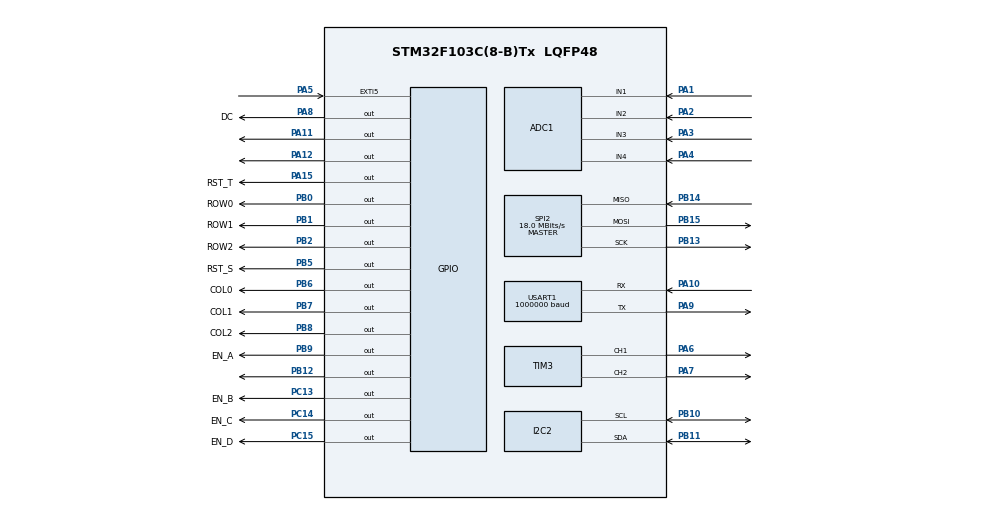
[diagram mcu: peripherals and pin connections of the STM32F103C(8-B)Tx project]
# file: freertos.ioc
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ADC1.Channel-0\#ChannelRegularConversion=ADC_CHANNEL_1
ADC1.Channel-1\#ChannelRegularConversion=ADC_CHANNEL_2
ADC1.Channel-2\#ChannelRegularConversion=ADC_CHANNEL_3
ADC1.Channel-3\#ChannelRegularConversion=ADC_CHANNEL_4
ADC1.ContinuousConvMode=ENABLE
ADC1.NbrOfConversion=4
ADC1.NbrOfConversionFlag=1
ADC1.Rank-0\#ChannelRegularConversion=1
ADC1.Rank-1\#ChannelRegularConversion=2
ADC1.Rank-2\#ChannelRegularConversion=3
ADC1.Rank-3\#ChannelRegularConversion=4
ADC1.SamplingTime-0\#ChannelRegularConversion=ADC_SAMPLETIME_13CYCLES_5
ADC1.SamplingTime-1\#ChannelRegularConversion=ADC_SAMPLETIME_13CYCLES_5
ADC1.SamplingTime-2\#ChannelRegularConversion=ADC_SAMPLETIME_13CYCLES_5
ADC1.SamplingTime-3\#ChannelRegularConversion=ADC_SAMPLETIME_13CYCLES_5
ADC1.master=1
Dma.ADC1.0.Direction=DMA_PERIPH_TO_MEMORY
Dma.ADC1.0.Instance=DMA1_Channel1
Dma.ADC1.0.MemDataAlignment=DMA_MDATAALIGN_HALFWORD
Dma.ADC1.0.MemInc=DMA_MINC_ENABLE
Dma.ADC1.0.Mode=DMA_CIRCULAR
Dma.ADC1.0.PeriphDataAlignment=DMA_PDATAALIGN_HALFWORD
Dma.ADC1.0.PeriphInc=DMA_PINC_DISABLE
Dma.ADC1.0.Priority=DMA_PRIORITY_MEDIUM
Dma.Request0=ADC1
Dma.Request1=SPI2_TX
Dma.SPI2_TX.1.Direction=DMA_MEMORY_TO_PERIPH
Dma.SPI2_TX.1.Instance=DMA1_Channel5
Dma.SPI2_TX.1.MemDataAlignment=DMA_MDATAALIGN_BYTE
Dma.SPI2_TX.1.MemInc=DMA_MINC_ENABLE
Dma.SPI2_TX.1.Mode=DMA_NORMAL
Dma.SPI2_TX.1.PeriphDataAlignment=DMA_PDATAALIGN_BYTE
Dma.SPI2_TX.1.PeriphInc=DMA_PINC_DISABLE
Dma.SPI2_TX.1.Priority=DMA_PRIORITY_HIGH
FREERTOS.BinarySemaphores01=spi2DmaSemaphore,Static,spi2DmaSemaphoreControlBlock,Available;lcdBusySemaphore,Static,lcdBusySemaphoreControlBlock,Available;ctpBusySemaphore,Static,ctpBusySemaphoreControlBlock,Available;TouchInitSemaphore,Static,TouchInitSemaphoreControlBlock,Depleted
FREERTOS.INCLUDE_xTaskGetCurrentTaskHandle=1
FREERTOS.Tasks01=screenRefresh,2,512,screenRefreshTask,Default,NULL,Static,screenRefreshTaskBuffer,screenRefreshTaskControlBlock;init,3,128,initTask,Default,NULL,Dynamic,NULL,NULL;TouchProcess,3,128,TouchProcessTask,Default,NULL,Static,TouchProcessBuffer,TouchProcessControlBlock
FREERTOS.Timers01=feedWDGTimer,feedWDGCallback,osTimerPeriodic,Default,NULL,Static,feedWDGTimerControlBlock
FREERTOS.configENABLE_BACKWARD_COMPATIBILITY=0
FREERTOS.configTIMER_TASK_PRIORITY=6
FREERTOS.configTIMER_TASK_STACK_DEPTH=128
FREERTOS.configTOTAL_HEAP_SIZE=3072
FREERTOS.configUSE_NEWLIB_REENTRANT=1
FREERTOS.configUSE_TIMERS=1
I2C2.I2C_Mode=I2C_Standard
Mcu.Family=STM32F1
Mcu.Name=STM32F103C(8-B)Tx
Mcu.Package=LQFP48
NVIC.DMA1_Channel5_IRQn=true\:5\:0\:false\:false\:true\:true\:true\:true\:true
NVIC.EXTI9_5_IRQn=true\:5\:0\:false\:false\:true\:true\:true\:true\:true
NVIC.PriorityGroup=NVIC_PRIORITYGROUP_4
NVIC.TIM1_UP_IRQn=true\:15\:0\:false\:false\:true\:false\:false\:true\:true
NVIC.TIM4_IRQn=true\:5\:0\:false\:false\:true\:true\:true\:true\:true
NVIC.TimeBase=TIM1_UP_IRQn
NVIC.TimeBaseIP=TIM1
PA0-WKUP.Mode=SYS_WakeUp0
PA0-WKUP.Signal=SYS_WKUP
PA1.Signal=ADCx_IN1
PA10.Mode=Asynchronous
PA10.Signal=USART1_RX
PA11.GPIO_Speed=GPIO_SPEED_FREQ_HIGH
PA11.PinState=GPIO_PIN_SET
PA11.Signal=GPIO_Output
PA12.GPIO_Speed=GPIO_SPEED_FREQ_HIGH
PA12.PinState=GPIO_PIN_SET
PA12.Signal=GPIO_Output
PA13.Mode=Serial_Wire
PA13.Signal=SYS_JTMS-SWDIO
PA14.Mode=Serial_Wire
PA14.Signal=SYS_JTCK-SWCLK
PA15.GPIO_Label=RST_T
PA15.Signal=GPIO_Output
PA2.Signal=ADCx_IN2
PA3.Signal=ADCx_IN3
PA4.Signal=ADCx_IN4
PA5.Signal=GPXTI5
PA6.Signal=S_TIM3_CH1
PA7.Signal=S_TIM3_CH2
PA8.GPIO_Label=DC
PA8.GPIO_Speed=GPIO_SPEED_FREQ_HIGH
PA8.Signal=GPIO_Output
PA9.Mode=Asynchronous
PA9.Signal=USART1_TX
PB0.GPIO_Label=ROW0
PB0.GPIO_Speed=GPIO_SPEED_FREQ_LOW
PB0.Signal=GPIO_Output
PB1.GPIO_Label=ROW1
PB1.GPIO_Speed=GPIO_SPEED_FREQ_LOW
PB1.Signal=GPIO_Output
PB10.Mode=I2C
PB10.Signal=I2C2_SCL
PB11.Mode=I2C
PB11.Signal=I2C2_SDA
PB12.GPIO_Speed=GPIO_SPEED_FREQ_HIGH
PB12.PinState=GPIO_PIN_SET
PB12.Signal=GPIO_Output
PB13.Mode=Full_Duplex_Master
PB13.Signal=SPI2_SCK
PB14.Mode=Full_Duplex_Master
PB14.Signal=SPI2_MISO
PB15.Mode=Full_Duplex_Master
PB15.Signal=SPI2_MOSI
PB2.GPIO_Label=ROW2
PB2.GPIO_Speed=GPIO_SPEED_FREQ_LOW
PB2.Signal=GPIO_Output
PB5.GPIO_Label=RST_S
PB5.Signal=GPIO_Output
PB6.GPIO_Label=COL0
PB6.Signal=GPIO_Output
PB7.GPIO_Label=COL1
PB7.Signal=GPIO_Output
PB8.GPIO_Label=COL2
PB8.Signal=GPIO_Output
PB9.GPIO_Label=EN_A
PB9.PinState=GPIO_PIN_SET
PB9.Signal=GPIO_Output
PC13-TAMPER-RTC.GPIO_Label=EN_B
PC13-TAMPER-RTC.PinState=GPIO_PIN_SET
PC13-TAMPER-RTC.Signal=GPIO_Output
PC14-OSC32_IN.GPIO_Label=EN_C
PC14-OSC32_IN.PinState=GPIO_PIN_SET
PC14-OSC32_IN.Signal=GPIO_Output
PC15-OSC32_OUT.GPIO_Label=EN_D
PC15-OSC32_OUT.PinState=GPIO_PIN_SET
PC15-OSC32_OUT.Signal=GPIO_Output
PD0-OSC_IN.Mode=HSE-External-Oscillator
PD0-OSC_IN.Signal=RCC_OSC_IN
PD1-OSC_OUT.Mode=HSE-External-Oscillator
PD1-OSC_OUT.Signal=RCC_OSC_OUT
ProjectManager.HeapSize=0x200
ProjectManager.StackSize=0x400
ProjectManager.TargetToolchain=STM32CubeIDE
RCC.ADCPresc=RCC_ADCPCLK2_DIV6
RCC.AHBFreq_Value=72000000
RCC.APB1CLKDivider=RCC_HCLK_DIV2
RCC.APB1Freq_Value=36000000
RCC.APB1TimFreq_Value=72000000
RCC.APB2Freq_Value=72000000
RCC.APB2TimFreq_Value=72000000
RCC.HCLKFreq_Value=72000000
RCC.HSE_VALUE=12000000
RCC.PLLMUL=RCC_PLL_MUL6
RCC.PLLSourceVirtual=RCC_PLLSOURCE_HSE
RCC.SYSCLKFreq_VALUE=72000000
RCC.SYSCLKSource=RCC_SYSCLKSOURCE_PLLCLK
RCC.USBFreq_Value=72000000
SH.ADCx_IN1.0=ADC1_IN1,IN1
SH.ADCx_IN2.0=ADC1_IN2,IN2
SH.ADCx_IN3.0=ADC1_IN3,IN3
SH.ADCx_IN4.0=ADC1_IN4,IN4
SH.S_TIM3_CH1.0=TIM3_CH1,PWM Generation1 CH1
SH.S_TIM3_CH2.0=TIM3_CH2,PWM Generation2 CH2
SPI2.BaudRatePrescaler=SPI_BAUDRATEPRESCALER_2
SPI2.CalculateBaudRate=18.0 MBits/s
SPI2.Direction=SPI_DIRECTION_2LINES
SPI2.Mode=SPI_MODE_MASTER
SPI2.VirtualType=VM_MASTER
TIM3.AutoReloadPreload=TIM_AUTORELOAD_PRELOAD_ENABLE
TIM3.Channel-PWM\ Generation1\ CH1=TIM_CHANNEL_1
TIM3.Channel-PWM\ Generation2\ CH2=TIM_CHANNEL_2
TIM3.Period=__LL_TIM_CALC_ARR(SystemCoreClock, TIM_InitStruct.Prescaler, 20000)
TIM3.Prescaler=__LL_TIM_CALC_PSC(SystemCoreClock, 1000000)
TIM3.TIM_MasterOutputTrigger=TIM_TRGO_UPDATE
TIM4.AutoReloadPreload=TIM_AUTORELOAD_PRELOAD_ENABLE
TIM4.Period=__LL_TIM_CALC_ARR(SystemCoreClock, TIM_InitStruct.Prescaler, 10240)
TIM4.Prescaler=__LL_TIM_CALC_PSC(SystemCoreClock, 102400)
USART1.BaudRate=1000000
USART1.VirtualMode=VM_ASYNC
VP_FREERTOS_VS_CMSIS_V1.Mode=CMSIS_V1
VP_IWDG_VS_IWDG.Mode=IWDG_Activate
VP_SYS_VS_tim1.Mode=TIM1
VP_TIM3_VS_ClockSourceINT.Mode=Internal
VP_TIM4_VS_ClockSourceINT.Mode=Internal
board=custom

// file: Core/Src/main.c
/* USER CODE BEGIN Header */
/**
  ******************************************************************************
  * @file           : main.c
  * @brief          : Main program body
  ******************************************************************************
  * @attention
  *
  * Copyright (c) 2024 STMicroelectronics.
  * All rights reserved.
  *
  * This software is licensed under terms that can be found in the LICENSE file
  * in the root directory of this software component.
  * If no LICENSE file comes with this software, it is provided AS-IS.
  *
  ******************************************************************************
  */
/* USER CODE END Header */
#include "main.h"
#include "cmsis_os.h"
#include "adc.h"
#include "dma.h"
#include "i2c.h"
#include "iwdg.h"
#include "spi.h"
#include "tim.h"
#include "usart.h"
#include "gpio.h"

/* USER CODE BEGIN Includes */
#include "lcd.h"

/* USER CODE END Includes */

void SystemClock_Config(void);
void MX_FREERTOS_Init(void);

int main(void)
{

  /* MCU Configuration--------------------------------------------------------*/

  /* Reset of all peripherals, Initializes the Flash interface and the Systick. */
  HAL_Init();

  /* Configure the system clock */
  SystemClock_Config();

  /* Initialize all configured peripherals */
  MX_GPIO_Init();
  MX_DMA_Init();
  MX_IWDG_Init();
  MX_USART1_UART_Init();
  MX_ADC1_Init();
  MX_TIM3_Init();
  MX_SPI2_Init();
  MX_I2C2_Init();
  MX_TIM4_Init();
  /* USER CODE BEGIN 2 */
  TIM3CH2_setDuty(50);

  /* USER CODE END 2 */

  /* Call init function for freertos objects (in cmsis_os2.c) */
  MX_FREERTOS_Init();

  /* Start scheduler */
  osKernelStart();

  /* We should never get here as control is now taken by the scheduler */

  /* Infinite loop */
  while (1)
  {

  }
}

void SystemClock_Config(void)
{
  LL_FLASH_SetLatency(LL_FLASH_LATENCY_2);
  while(LL_FLASH_GetLatency()!= LL_FLASH_LATENCY_2)
  {
  }
  LL_RCC_HSE_Enable();

   /* Wait till HSE is ready */
  while(LL_RCC_HSE_IsReady() != 1)
  {

  }
  LL_RCC_LSI_Enable();

   /* Wait till LSI is ready */
  while(LL_RCC_LSI_IsReady() != 1)
  {

  }
  LL_RCC_PLL_ConfigDomain_SYS(LL_RCC_PLLSOURCE_HSE_DIV_1, LL_RCC_PLL_MUL_6);
  LL_RCC_PLL_Enable();

   /* Wait till PLL is ready */
  while(LL_RCC_PLL_IsReady() != 1)
  {

  }
  LL_RCC_SetAHBPrescaler(LL_RCC_SYSCLK_DIV_1);
  LL_RCC_SetAPB1Prescaler(LL_RCC_APB1_DIV_2);
  LL_RCC_SetAPB2Prescaler(LL_RCC_APB2_DIV_1);
  LL_RCC_SetSysClkSource(LL_RCC_SYS_CLKSOURCE_PLL);

   /* Wait till System clock is ready */
  while(LL_RCC_GetSysClkSource() != LL_RCC_SYS_CLKSOURCE_STATUS_PLL)
  {

  }
  LL_SetSystemCoreClock(72000000);

   /* Update the time base */
  if (HAL_InitTick (TICK_INT_PRIORITY) != HAL_OK)
  {
    Error_Handler();
  }
  LL_RCC_SetADCClockSource(LL_RCC_ADC_CLKSRC_PCLK2_DIV_6);
}

void HAL_TIM_PeriodElapsedCallback(TIM_HandleTypeDef *htim)
{
  if (htim->Instance == TIM1) {
    HAL_IncTick();
  }
}

void Error_Handler(void)
{
  __disable_irq();
  while (1)
  {
  }
}

#ifdef  USE_FULL_ASSERT
/**
  * @brief  Reports the name of the source file and the source line number
  *         where the assert_param error has occurred.
  * @param  file: pointer to the source file name
  * @param  line: assert_param error line source number
  * @retval None
  */
void assert_failed(uint8_t *file, uint32_t line)
{
  /* USER CODE BEGIN 6 */
  /* User can add his own implementation to report the file name and line number,
     ex: printf("Wrong parameters value: file %s on line %d\r\n", file, line) */
    printf("Wrong parameters value: file %s on line %d\r\n", file, line);
    while (1);
  /* USER CODE END 6 */
}
#endif /* USE_FULL_ASSERT */

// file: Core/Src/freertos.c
/* USER CODE BEGIN Header */
/**
  ******************************************************************************
  * File Name          : freertos.c
  * Description        : Code for freertos applications
  ******************************************************************************
  * @attention
  *
  * Copyright (c) 2024 STMicroelectronics.
  * All rights reserved.
  *
  * This software is licensed under terms that can be found in the LICENSE file
  * in the root directory of this software component.
  * If no LICENSE file comes with this software, it is provided AS-IS.
  *
  ******************************************************************************
  */
/* USER CODE END Header */

#include "FreeRTOS.h"
#include "task.h"
#include "main.h"
#include "cmsis_os.h"

/* USER CODE BEGIN Includes */
#include "lcdHandler.h"
#include "ctpHandler.h"
#include "layout.h"
/* USER CODE END Includes */

/* USER CODE BEGIN Variables */
QueueHandle_t adcMailBox;
uint8_t adcMailBoxBuffer[4];
StaticQueue_t adcMailBoxControlBlock;
/* USER CODE END Variables */
osThreadId screenRefreshHandle;
uint32_t screenRefreshTaskBuffer[ 512 ];
osStaticThreadDef_t screenRefreshTaskControlBlock;
osThreadId initHandle;
osThreadId TouchProcessHandle;
uint32_t TouchProcessBuffer[ 128 ];
osStaticThreadDef_t TouchProcessControlBlock;
osTimerId feedWDGTimerHandle;
osStaticTimerDef_t feedWDGTimerControlBlock;
osSemaphoreId spi2DmaSemaphoreHandle;
osStaticSemaphoreDef_t spi2DmaSemaphoreControlBlock;
osSemaphoreId lcdBusySemaphoreHandle;
osStaticSemaphoreDef_t lcdBusySemaphoreControlBlock;
osSemaphoreId ctpBusySemaphoreHandle;
osStaticSemaphoreDef_t ctpBusySemaphoreControlBlock;
osSemaphoreId TouchInitSemaphoreHandle;
osStaticSemaphoreDef_t TouchInitSemaphoreControlBlock;

void screenRefreshTask(void const * argument);
void initTask(void const * argument);
void TouchProcessTask(void const * argument);
void feedWDGCallback(void const * argument);

void MX_FREERTOS_Init(void); /* (MISRA C 2004 rule 8.1) */

/* GetIdleTaskMemory prototype (linked to static allocation support) */
void vApplicationGetIdleTaskMemory( StaticTask_t **ppxIdleTaskTCBBuffer, StackType_t **ppxIdleTaskStackBuffer, uint32_t *pulIdleTaskStackSize );

/* GetTimerTaskMemory prototype (linked to static allocation support) */
void vApplicationGetTimerTaskMemory( StaticTask_t **ppxTimerTaskTCBBuffer, StackType_t **ppxTimerTaskStackBuffer, uint32_t *pulTimerTaskStackSize );

/* USER CODE BEGIN GET_IDLE_TASK_MEMORY */
static StaticTask_t xIdleTaskTCBBuffer;
static StackType_t xIdleStack[configMINIMAL_STACK_SIZE];

void vApplicationGetIdleTaskMemory( StaticTask_t **ppxIdleTaskTCBBuffer, StackType_t **ppxIdleTaskStackBuffer, uint32_t *pulIdleTaskStackSize )
{
  *ppxIdleTaskTCBBuffer = &xIdleTaskTCBBuffer;
  *ppxIdleTaskStackBuffer = &xIdleStack[0];
  *pulIdleTaskStackSize = configMINIMAL_STACK_SIZE;
  /* place for user code */
}
/* USER CODE END GET_IDLE_TASK_MEMORY */

/* USER CODE BEGIN GET_TIMER_TASK_MEMORY */
static StaticTask_t xTimerTaskTCBBuffer;
static StackType_t xTimerStack[configTIMER_TASK_STACK_DEPTH];

void vApplicationGetTimerTaskMemory( StaticTask_t **ppxTimerTaskTCBBuffer, StackType_t **ppxTimerTaskStackBuffer, uint32_t *pulTimerTaskStackSize )
{
  *ppxTimerTaskTCBBuffer = &xTimerTaskTCBBuffer;
  *ppxTimerTaskStackBuffer = &xTimerStack[0];
  *pulTimerTaskStackSize = configTIMER_TASK_STACK_DEPTH;
  /* place for user code */
}
/* USER CODE END GET_TIMER_TASK_MEMORY */

void MX_FREERTOS_Init(void) {

  /* Create the semaphores(s) */
  /* definition and creation of spi2DmaSemaphore */
  osSemaphoreStaticDef(spi2DmaSemaphore, &spi2DmaSemaphoreControlBlock);
  spi2DmaSemaphoreHandle = osSemaphoreCreate(osSemaphore(spi2DmaSemaphore), 1);

  /* definition and creation of lcdBusySemaphore */
  osSemaphoreStaticDef(lcdBusySemaphore, &lcdBusySemaphoreControlBlock);
  lcdBusySemaphoreHandle = osSemaphoreCreate(osSemaphore(lcdBusySemaphore), 1);

  /* definition and creation of ctpBusySemaphore */
  osSemaphoreStaticDef(ctpBusySemaphore, &ctpBusySemaphoreControlBlock);
  ctpBusySemaphoreHandle = osSemaphoreCreate(osSemaphore(ctpBusySemaphore), 1);

  /* definition and creation of TouchInitSemaphore */
  osSemaphoreStaticDef(TouchInitSemaphore, &TouchInitSemaphoreControlBlock);
  TouchInitSemaphoreHandle = osSemaphoreCreate(osSemaphore(TouchInitSemaphore), 1);

  /* Create the timer(s) */
  /* definition and creation of feedWDGTimer */
  osTimerStaticDef(feedWDGTimer, feedWDGCallback, &feedWDGTimerControlBlock);
  feedWDGTimerHandle = osTimerCreate(osTimer(feedWDGTimer), osTimerPeriodic, NULL);

  /* USER CODE BEGIN RTOS_TIMERS */
  osTimerStart(feedWDGTimerHandle, 400);
  /* start timers, add new ones, ... */
  /* USER CODE END RTOS_TIMERS */

  /* USER CODE BEGIN RTOS_QUEUES */
    adcMailBox = xQueueCreateStatic(1, sizeof(uint16_t*), adcMailBoxBuffer, &adcMailBoxControlBlock);
  /* add queues, ... */
  /* USER CODE END RTOS_QUEUES */

  /* Create the thread(s) */
  /* definition and creation of screenRefresh */
  osThreadStaticDef(screenRefresh, screenRefreshTask, osPriorityHigh, 0, 512, screenRefreshTaskBuffer, &screenRefreshTaskControlBlock);
  screenRefreshHandle = osThreadCreate(osThread(screenRefresh), NULL);

  /* definition and creation of init */
  osThreadDef(init, initTask, osPriorityRealtime, 0, 128);
  initHandle = osThreadCreate(osThread(init), NULL);

  /* definition and creation of TouchProcess */
  osThreadStaticDef(TouchProcess, TouchProcessTask, osPriorityRealtime, 0, 128, TouchProcessBuffer, &TouchProcessControlBlock);
  TouchProcessHandle = osThreadCreate(osThread(TouchProcess), NULL);

}

void screenRefreshTask(void const * argument)
{
  /* USER CODE BEGIN screenRefreshTask */
    int displayRow = 32;
    int displayCol = 32;
    uint8_t head[2] = { 0xff,0xff };
    uint16_t* adcBuffer = NULL;

    ulTaskNotifyTake(pdTRUE, portMAX_DELAY);
    GridView* gridView = GridViewConstruct(
        NULL, 10, 20, 240, 240,
        displayRow, displayCol, 0, 0, adcBuffer);

  /* Infinite loop */
  for(;;)
  {
      xQueuePeek(adcMailBox, &adcBuffer, 0);
      if (NULL == adcBuffer)
      {
          osDelay(100);
          continue;
      }
      gridView->data = adcBuffer;
      gridView->interface.draw(gridView);
      adcBuffer = NULL;
  }
  /* USER CODE END screenRefreshTask */
}

void initTask(void const * argument)
{
  /* USER CODE BEGIN initTask */
    LL_TIM_EnableIT_UPDATE(TIM4);
    LL_TIM_EnableCounter(TIM4);
    LL_TIM_GenerateEvent_UPDATE(TIM4);

    osSemaphoreRelease(*(SPI2Instance.dmaSemaphore));
    lcdInstance.init(&lcdInstance, &st7789vInstance, &lcdBusySemaphoreHandle, 100);
    xTaskNotifyGive(screenRefreshHandle);

    ctpHandler.init(&ctpHandler, &cst816tInstance, &ctpBusySemaphoreHandle);

    osThreadTerminate(NULL);
  /* USER CODE END initTask */
}

void TouchProcessTask(void const * argument)
{
  /* USER CODE BEGIN TouchProcessTask */
    uint16_t x, y;
  /* Infinite loop */
  for(;;)
  {
      osSemaphoreWait(TouchInitSemaphoreHandle, osWaitForever);
      GESTURE gesture = ctpHandler.getGesture(&ctpHandler);
      ctpHandler.getPos(&ctpHandler, &x, &y);
      printf("Touch detected. x: %d, y: %d, gesture: %d\n", x, y, gesture);
    osDelay(1);
  }
  /* USER CODE END TouchProcessTask */
}

/* feedWDGCallback function */
void feedWDGCallback(void const * argument)
{
  /* USER CODE BEGIN feedWDGCallback */
    LL_IWDG_ReloadCounter(IWDG);
  /* USER CODE END feedWDGCallback */
}
